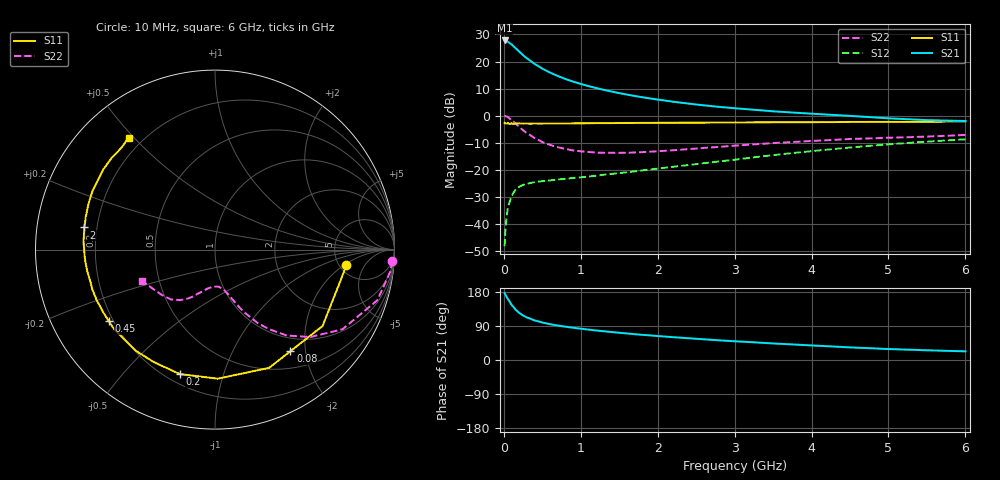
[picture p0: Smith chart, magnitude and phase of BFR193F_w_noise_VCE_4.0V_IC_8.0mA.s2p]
! Infineon Technologies  Discrete & RF Semiconductors
! BFR193F
! VCE =  4.0 V,  IC =  8.0 mA
! Common Emitter S-Parameters:  Jan 2017
# GHz  S  MA  R  50
!  f  S11  S21  S12  S22
! GHz  MAG  ANG  MAG  ANG  MAG  ANG  MAG  ANG
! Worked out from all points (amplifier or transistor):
!   77 points, 10 MHz to 6 GHz, reference 50 ohm
!   highest |S21| = 27.8 dB at 10 MHz (marker M1)
!   |S21| within 3 dB of that: start of sweep to 158.5 MHz
!   unconditionally stable (mu >= 1): 1.636 GHz to 2.948 GHz
!   at 130 MHz: K = 0.15, MSG = 26.9 dB, |S12| = -28.3 dB
!   at 2.2 GHz: K = 1.05, MAG = 10.6 dB, |S12| = -18.9 dB
!   at 6 GHz: K = 0.80, MSG = 3.4 dB, |S12| = -8.7 dB
!   lowest NFmin = 0.84 dB at 450 MHz
!   S11 on the Smith chart (normalised r, x): 10 MHz: 5.72, -2.22; 80 MHz: 0.77, -1.72; 200 MHz: 0.25, -0.73; 450 MHz: 0.18, -0.30; 2 GHz: 0.15, +0.08; 6 GHz: 0.15, +0.48
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0.01  0.7369 -6.9  24.46 176.7  0.0039 85.9  0.9892 -3.7
0.02  0.7185 -15.1  24.07 172.4  0.0075 88.7  0.9838 -7.2
0.05  0.7351 -35.4  23.39 161.6  0.0189 75.5  0.9478 -17.3
0.08  0.7049 -53.4  21.63 152.4  0.0271 65.5  0.875 -25.6
0.1  0.7246 -65.4  20.8 145.6  0.0328 61.7  0.8381 -31.9
0.15  0.7193 -88.8  17.78 133.5  0.0427 52.0  0.7212 -42.5
0.2  0.7206 -105.7  15.23 124.3  0.0487 45.1  0.6227 -50.2
0.25  0.7136 -118.6  13.07 117.4  0.0529 41.3  0.5383 -55.6
0.3  0.7158 -128.1  11.44 112.2  0.0555 38.9  0.4763 -59.7
0.4  0.7162 -141.7  9.01 104.3  0.0594 36.3  0.3853 -65.0
0.45  0.713 -146.0  8.189 101.9  0.0606 36.1  0.3561 -66.6
0.6  0.7169 -156.9  6.252 94.5  0.0639 36.2  0.2885 -71.1
0.7  0.7187 -162.2  5.415 90.9  0.0663 37.6  0.2618 -73.4
0.9  0.7208 -169.4  4.259 85.1  0.0706 40.8  0.2284 -77.6
1.1  0.7253 -174.7  3.514 80.2  0.0751 44.8  0.2142 -81.9
1.5  0.7324 177.6  2.61 71.9  0.0872 51.6  0.2063 -90.7
2  0.7393 170.4  1.983 63.2  0.1053 59.1  0.2202 -100.5
2.1  0.7391 169.3  1.895 61.8  0.1096 60.2  0.2251 -102.0
3.1  0.7506 158.9  1.337 48.4  0.1602 68.1  0.2859 -114.7
4.1  0.7587 148.6  1.068 37.4  0.2286 69.5  0.3469 -126.0
5.1  0.7691 137.2  0.88 28.3  0.3028 65.5  0.3946 -142.1
6  0.7872 127.7  0.797 22.8  0.3657 60.0  0.4417 -156.8
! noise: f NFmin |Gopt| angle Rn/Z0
0.45  0.84  0.25  124  0.08
0.9  0.99  0.4  147  0.07
1.9  1.74  0.61  -177  0.05
2.4  2.11  0.64  -167  0.08
